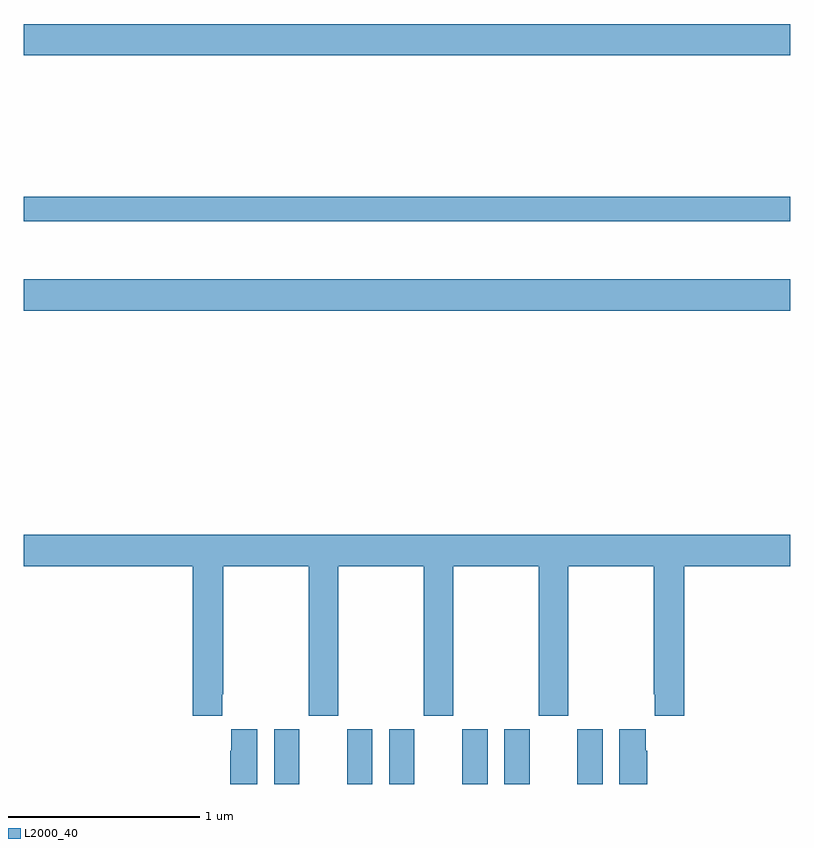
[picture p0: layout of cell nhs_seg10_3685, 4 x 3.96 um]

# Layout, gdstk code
import gdstk
lib = gdstk.Library(unit=1e-6, precision=1e-09)
def R(c, l, rs):  # rectangles x0, y0, x1, y1
    for r in rs: c.add(gdstk.rectangle(r[:2], r[2:], *l))
def P(c, l, *ps):  # polygons
    for p in ps: c.add(gdstk.Polygon(p, *l))
L2000_40 = (2000, 40)

nhs_seg10_3685 = lib.new_cell('nhs_seg10_3685')
R(nhs_seg10_3685, L2000_40, [(312.308,1312.5,312.439,1312.786), (312.689,1312.5,312.82,1312.786), (312.908,1312.5,313.039,1312.786), (313.289,1312.5,313.42,1312.786), (313.508,1312.5,313.639,1312.786), (313.889,1312.5,314.02,1312.786), (311,1314.968,315,1315.132), (311,1315.434,315,1315.562), (311,1316.3,315,1316.464)])
P(nhs_seg10_3685, L2000_40, [(311,1313.636),(311.882,1313.636),(311.882,1312.857),(312.037,1312.857),(312.037,1312.969),(312.042,1312.969),(312.042,1313.636),(312.487,1313.636),(312.487,1312.857),(312.642,1312.857),(312.642,1313.636),(313.087,1313.636),(313.087,1312.857),(313.242,1312.857),(313.242,1313.636),(313.687,1313.636),(313.687,1312.857),(313.842,1312.857),(313.842,1313.636),(314.287,1313.636),(314.287,1312.969),(314.291,1312.969),(314.291,1312.857),(314.447,1312.857),(314.447,1313.636),(315,1313.636),(315,1313.8),(311,1313.8)],
  [(312.22,1312.786),(312.083,1312.786),(312.083,1312.673),(312.077,1312.673),(312.077,1312.5),(312.22,1312.5)],
  [(314.252,1312.673),(314.245,1312.673),(314.245,1312.786),(314.108,1312.786),(314.108,1312.5),(314.252,1312.5)])

lib.write_gds('nhs_seg10_3685.gds')
